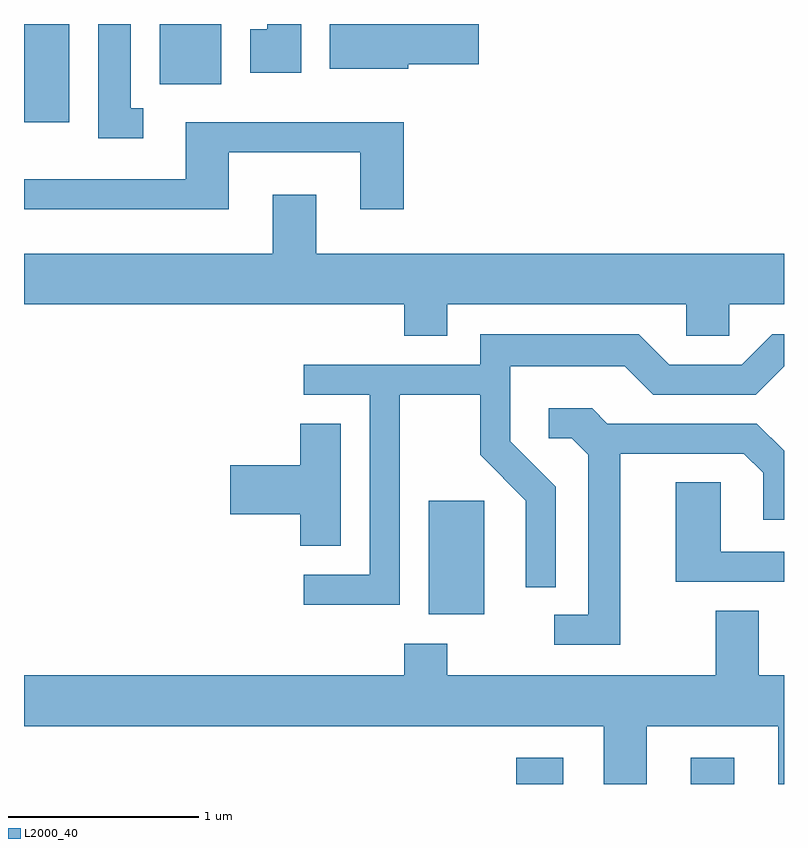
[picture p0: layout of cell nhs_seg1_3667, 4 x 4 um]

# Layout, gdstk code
import gdstk
lib = gdstk.Library(unit=1e-6, precision=1e-09)
def R(c, l, rs):  # rectangles x0, y0, x1, y1
    for r in rs: c.add(gdstk.rectangle(r[:2], r[2:], *l))
def P(c, l, *ps):  # polygons
    for p in ps: c.add(gdstk.Polygon(p, *l))
L2000_40 = (2000, 40)

nhs_seg1_3667 = lib.new_cell('nhs_seg1_3667')
R(nhs_seg1_3667, L2000_40, [(298.201,903.712,298.449,903.849), (299.121,903.712,299.349,903.849), (297.741,904.606,298.034,905.204), (295.611,907.196,295.849,907.712), (296.326,907.396,296.649,907.712)])
P(nhs_seg1_3667, L2000_40, [(297.634,907.501),(298.004,907.501),(298.004,907.712),(297.221,907.712),(297.221,907.476),(297.634,907.476)],
  [(296.238,907.269),(296.174,907.269),(296.174,907.712),(296.001,907.712),(296.001,907.111),(296.238,907.111)],
  [(297.069,907.712),(296.891,907.712),(296.891,907.684),(296.801,907.684),(296.801,907.456),(297.069,907.456)],
  [(296.689,907.036),(297.381,907.036),(297.381,906.736),(297.609,906.736),(297.609,907.194),(296.461,907.194),(296.461,906.894),(295.611,906.894),(295.611,906.736),(296.689,906.736)],
  [(297.839,906.236),(299.096,906.236),(299.096,906.071),(299.324,906.071),(299.324,906.236),(299.611,906.236),(299.611,906.504),(297.149,906.504),(297.149,906.814),(296.921,906.814),(296.921,906.504),(295.611,906.504),(295.611,906.236),(297.611,906.236),(297.611,906.071),(297.839,906.071)],
  [(297.589,905.761),(298.011,905.761),(298.011,905.444),(298.251,905.204),(298.251,904.748),(298.409,904.748),(298.409,905.277),(298.169,905.517),(298.169,905.911),(298.774,905.911),(298.924,905.761),(299.462,905.761),(299.611,905.91),(299.611,906.079),(299.549,906.079),(299.389,905.919),(299.007,905.919),(298.847,906.079),(298.011,906.079),(298.011,905.919),(297.083,905.919),(297.083,905.761),(297.431,905.761),(297.431,904.814),(297.083,904.814),(297.083,904.656),(297.589,904.656)],
  [(298.749,905.451),(299.399,905.451),(299.501,905.349),(299.501,905.103),(299.611,905.103),(299.611,905.465),(299.467,905.609),(298.682,905.609),(298.602,905.689),(298.373,905.689),(298.373,905.531),(298.494,905.531),(298.581,905.444),(298.581,904.604),(298.403,904.604),(298.403,904.446),(298.749,904.446)],
  [(297.279,905.609),(297.066,905.609),(297.066,905.389),(296.696,905.389),(296.696,905.131),(297.066,905.131),(297.066,904.966),(297.279,904.966)],
  [(299.611,904.934),(299.279,904.934),(299.279,905.299),(299.041,905.299),(299.041,904.776),(299.611,904.776)],
  [(298.889,904.016),(299.581,904.016),(299.581,903.712),(299.611,903.712),(299.611,904.284),(299.479,904.284),(299.479,904.624),(299.251,904.624),(299.251,904.284),(297.839,904.284),(297.839,904.449),(297.611,904.449),(297.611,904.284),(295.611,904.284),(295.611,904.016),(298.661,904.016),(298.661,903.712),(298.889,903.712)])

lib.write_gds('nhs_seg1_3667.gds')
